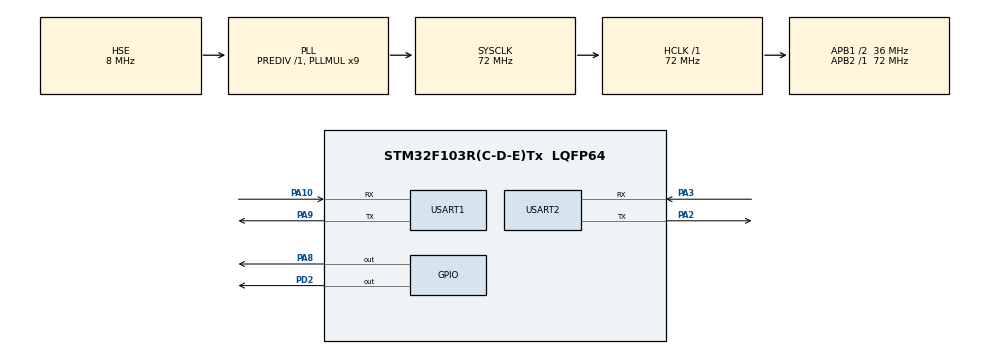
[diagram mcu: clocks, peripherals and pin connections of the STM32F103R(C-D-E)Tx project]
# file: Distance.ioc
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Mcu.Family=STM32F1
Mcu.Name=STM32F103R(C-D-E)Tx
Mcu.Package=LQFP64
NVIC.PriorityGroup=NVIC_PRIORITYGROUP_4
NVIC.USART2_IRQn=true\:0\:0\:false\:false\:true\:true\:true
PA10.Mode=Asynchronous
PA10.Signal=USART1_RX
PA13.Mode=Serial_Wire
PA13.Signal=SYS_JTMS-SWDIO
PA14.Mode=Serial_Wire
PA14.Signal=SYS_JTCK-SWCLK
PA2.Mode=Asynchronous
PA2.Signal=USART2_TX
PA3.Mode=Asynchronous
PA3.Signal=USART2_RX
PA8.PinState=GPIO_PIN_SET
PA8.Signal=GPIO_Output
PA9.Mode=Asynchronous
PA9.Signal=USART1_TX
PD0-OSC_IN.Mode=HSE-External-Oscillator
PD0-OSC_IN.Signal=RCC_OSC_IN
PD1-OSC_OUT.Mode=HSE-External-Oscillator
PD1-OSC_OUT.Signal=RCC_OSC_OUT
PD2.PinState=GPIO_PIN_SET
PD2.Signal=GPIO_Output
ProjectManager.HeapSize=0x200
ProjectManager.StackSize=0x400
ProjectManager.TargetToolchain=MDK-ARM V5
RCC.AHBFreq_Value=72000000
RCC.APB1CLKDivider=RCC_HCLK_DIV2
RCC.APB1Freq_Value=36000000
RCC.APB1TimFreq_Value=72000000
RCC.APB2Freq_Value=72000000
RCC.APB2TimFreq_Value=72000000
RCC.HCLKFreq_Value=72000000
RCC.PLLMUL=RCC_PLL_MUL9
RCC.PLLSourceVirtual=RCC_PLLSOURCE_HSE
RCC.SYSCLKFreq_VALUE=72000000
RCC.SYSCLKSource=RCC_SYSCLKSOURCE_PLLCLK
RCC.USBFreq_Value=72000000
USART1.VirtualMode=VM_ASYNC
USART2.VirtualMode=VM_ASYNC
board=custom

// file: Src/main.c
/* USER CODE BEGIN Header */
/**
  ******************************************************************************
  * @file           : main.c
  * @brief          : Main program body
  ******************************************************************************
  * @attention
  *
  * <h2><center>&copy; Copyright (c) 2021 STMicroelectronics.
  * All rights reserved.</center></h2>
  *
  * This software component is licensed by ST under BSD 3-Clause license,
  * the "License"; You may not use this file except in compliance with the
  * License. You may obtain a copy of the License at:
  *                        opensource.org/licenses/BSD-3-Clause
  *
  ******************************************************************************
  */
/* USER CODE END Header */

#include "main.h"
#include "usart.h"
#include "gpio.h"
#include "stdio.h"
#include "stm32f1xx_hal.h"

/* USER CODE BEGIN Includes */
/* Includes ------------------------------------------------------------------*/
#ifdef __GNUC__
    #define PUTCHAR_PROTOTYPE int __io_putchar(int ch)
#else
    #define PUTCHAR_PROTOTYPE int fputc(int ch, FILE *f)
#endif /* __GNUC__ */

PUTCHAR_PROTOTYPE
{
    HAL_UART_Transmit(&huart1 , (uint8_t *)&ch, 1, 0xFFFF);
    return ch;
}
/* USER CODE END Includes */

/* USER CODE BEGIN PD */
int dist=99;
int check;
int count=10000;
uint8_t uart[9];
const int HEADER=0X59;
/* USER CODE END PD */

void SystemClock_Config(void);

int main(void)
{

  /* MCU Configuration--------------------------------------------------------*/

  /* Reset of all peripherals, Initializes the Flash interface and the Systick. */
  HAL_Init();

  /* Configure the system clock */
  SystemClock_Config();

  /* Initialize all configured peripherals */
  MX_GPIO_Init();
  MX_USART1_UART_Init();
  MX_USART2_UART_Init();
  /* USER CODE BEGIN 2 */
  HAL_UART_Receive_IT(&huart2,uart,1);
  /* USER CODE END 2 */

  /* Infinite loop */
  /* USER CODE BEGIN WHILE */
  while (1)
  {
	  if(dist<20)
	  {
		  HAL_GPIO_WritePin(GPIOA, GPIO_PIN_8, GPIO_PIN_RESET);
		  HAL_Delay(10);
		  count--;
	  }
	  else
	  {
		  HAL_GPIO_WritePin(GPIOA, GPIO_PIN_8, GPIO_PIN_SET);
		  count=1000;
	  }
	  if(count<=0)
		  HAL_GPIO_WritePin(GPIOD, GPIO_PIN_2, GPIO_PIN_RESET);
	  else
		  HAL_GPIO_WritePin(GPIOD, GPIO_PIN_2, GPIO_PIN_SET);
    /* USER CODE END WHILE */
  }
}

void SystemClock_Config(void)
{
  RCC_OscInitTypeDef RCC_OscInitStruct = {0};
  RCC_ClkInitTypeDef RCC_ClkInitStruct = {0};

  /** Initializes the CPU, AHB and APB busses clocks
  */
  RCC_OscInitStruct.OscillatorType = RCC_OSCILLATORTYPE_HSE;
  RCC_OscInitStruct.HSEState = RCC_HSE_ON;
  RCC_OscInitStruct.HSEPredivValue = RCC_HSE_PREDIV_DIV1;
  RCC_OscInitStruct.HSIState = RCC_HSI_ON;
  RCC_OscInitStruct.PLL.PLLState = RCC_PLL_ON;
  RCC_OscInitStruct.PLL.PLLSource = RCC_PLLSOURCE_HSE;
  RCC_OscInitStruct.PLL.PLLMUL = RCC_PLL_MUL9;
  if (HAL_RCC_OscConfig(&RCC_OscInitStruct) != HAL_OK)
  {
    Error_Handler();
  }
  /** Initializes the CPU, AHB and APB busses clocks
  */
  RCC_ClkInitStruct.ClockType = RCC_CLOCKTYPE_HCLK|RCC_CLOCKTYPE_SYSCLK
                              |RCC_CLOCKTYPE_PCLK1|RCC_CLOCKTYPE_PCLK2;
  RCC_ClkInitStruct.SYSCLKSource = RCC_SYSCLKSOURCE_PLLCLK;
  RCC_ClkInitStruct.AHBCLKDivider = RCC_SYSCLK_DIV1;
  RCC_ClkInitStruct.APB1CLKDivider = RCC_HCLK_DIV2;
  RCC_ClkInitStruct.APB2CLKDivider = RCC_HCLK_DIV1;

  if (HAL_RCC_ClockConfig(&RCC_ClkInitStruct, FLASH_LATENCY_2) != HAL_OK)
  {
    Error_Handler();
  }
}

/* USER CODE BEGIN 4 */
void HAL_UART_RxCpltCallback(UART_HandleTypeDef *huart)
{
	if((int)uart[0]==HEADER)
	{
		HAL_UART_Receive(&huart2,uart+1,1,0xffff);
		if((int)uart[1]==HEADER)
		{
			HAL_UART_Receive(&huart2,uart+2,7,0xffff);
			check=(int)uart[0]+(int)uart[1]+(int)uart[2]+(int)uart[3]+(int)uart[4]+(int)uart[5]+(int)uart[6]+(int)uart[7];
				if((int)uart[8]==(check&0xff))
				{
					dist=(int)uart[2]+(int)uart[3]*256;
					printf("%d\r\n",dist);
				}
			}
	}
		else
			uart[0]=0;
		HAL_UART_Receive_IT(&huart2,uart,1);
}

/* USER CODE END 4 */

void Error_Handler(void)
{
}

/************************ (C) COPYRIGHT STMicroelectronics *****END OF FILE****/
